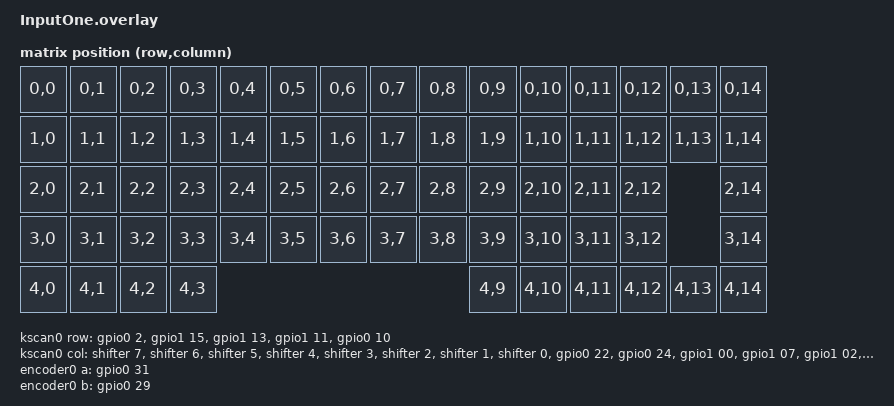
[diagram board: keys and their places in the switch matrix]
#include <dt-bindings/zmk/matrix_transform.h>
#include <dt-bindings/pinctrl/nrf-pinctrl.h>
#include <InputOne-pinctrl.dtsi>

/ {
    chosen {
        zmk,kscan = &kscan0;
        zmk,matrix_transform = &default_transform;
    };


    default_transform: keymap_transform0 {
        compatible = "zmk,matrix-transform";
        columns = <15>;
        rows = <5>;

        map = <
            RC(0,0) RC(0,1) RC(0,2) RC(0,3) RC(0,4) RC(0,5) RC(0,6) RC(0,7) RC(0,8) RC(0,9) RC(0,10) RC(0,11) RC(0,12) RC(0,13) RC(0,14)
            RC(1,0) RC(1,1) RC(1,2) RC(1,3) RC(1,4) RC(1,5) RC(1,6) RC(1,7) RC(1,8) RC(1,9) RC(1,10) RC(1,11) RC(1,12) RC(1,13) RC(1,14)
            RC(2,0) RC(2,1) RC(2,2) RC(2,3) RC(2,4) RC(2,5) RC(2,6) RC(2,7) RC(2,8) RC(2,9) RC(2,10) RC(2,11) RC(2,12) &none    RC(2,14)
            RC(3,0) RC(3,1) RC(3,2) RC(3,3) RC(3,4) RC(3,5) RC(3,6) RC(3,7) RC(3,8) RC(3,9) RC(3,10) RC(3,11) RC(3,12) &none    RC(3,14)
            RC(4,0) RC(4,1) RC(4,2) RC(4,3) &none   &none   &none   &none   &none   RC(4,9) RC(4,10) RC(4,11) RC(4,12) RC(4,13) RC(4,14)
        >;
    };


    &spi0 {
        status = "okay";
        cs-gpios = <&gpio0 8 GPIO_ACTIVE_LOW>;

        pinctrl-0 = <&spi0_default>;
        pinctrl-names = "default";

        shifter: 595@0 {
            compatible = "zmk,gpio-595";
            status = "okay";
            gpio-controller;
            spi-max-frequency = <200000>;
            reg = <0>;
            #gpio-cells = <2>;
            ngpios = <8>;
        };
    };


    kscan0: kscan0 {
        compatible = "zmk,kscan-gpio-matrix";
        diode-direction = "col2row";
        wakeup-source;

        row-gpios = <&gpio0 2 (GPIO_ACTIVE_HIGH | GPIO_PULL_DOWN)>,  // R0 P0.02 
                    <&gpio1 15 (GPIO_ACTIVE_HIGH | GPIO_PULL_DOWN)>, // R1 P1.15
                    <&gpio1 13 (GPIO_ACTIVE_HIGH | GPIO_PULL_DOWN)>, // R2 P1.13 
                    <&gpio1 11 (GPIO_ACTIVE_HIGH | GPIO_PULL_DOWN)>, // R3 P1.11 
                    <&gpio0 10 (GPIO_ACTIVE_HIGH | GPIO_PULL_DOWN)>; // R4 P0.10

        col-gpios = <&shifter 7 GPIO_ACTIVE_HIGH>, //  C0 
                    <&shifter 6 GPIO_ACTIVE_HIGH>, //  C1 
                    <&shifter 5 GPIO_ACTIVE_HIGH>, //  C2 
                    <&shifter 4 GPIO_ACTIVE_HIGH>, //  C3 
                    <&shifter 3 GPIO_ACTIVE_HIGH>, //  C4 
                    <&shifter 2 GPIO_ACTIVE_HIGH>, //  C5 
                    <&shifter 1 GPIO_ACTIVE_HIGH>, //  C6 
                    <&shifter 0 GPIO_ACTIVE_HIGH>, //  C7 
                    <&gpio0 22 GPIO_ACTIVE_HIGH>,  //  C8 P0.22 
                    <&gpio0 24 GPIO_ACTIVE_HIGH>,  //  C9 P0.24 
                    <&gpio1 00 GPIO_ACTIVE_HIGH>,  // C10 P1.00 
                    <&gpio1 07 GPIO_ACTIVE_HIGH>,  // C11 P1.07 
                    <&gpio1 02 GPIO_ACTIVE_HIGH>,  // C12 P1.02 
                    <&gpio1 01 GPIO_ACTIVE_HIGH>,  // C13 P1.01     
                    <&gpio0 11 GPIO_ACTIVE_HIGH>;  // C14 P0.11     
    };


    encoder0: encoder0 {
        compatible = "alps,ec11";
        a-gpios = <&gpio0 31 (GPIO_ACTIVE_HIGH | GPIO_PULL_UP)>; // Encoder A P0.31 
        b-gpios = <&gpio0 29 (GPIO_ACTIVE_HIGH | GPIO_PULL_UP)>; // Encoder B P0.29 
        steps = <80>;
        status = "okay";
    };
    
    sensors: sensors {
        compatible = "zmk,keymap-sensors";
        sensors = <&encoder0>;
        triggers-per-rotation = <24>;
    };
};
